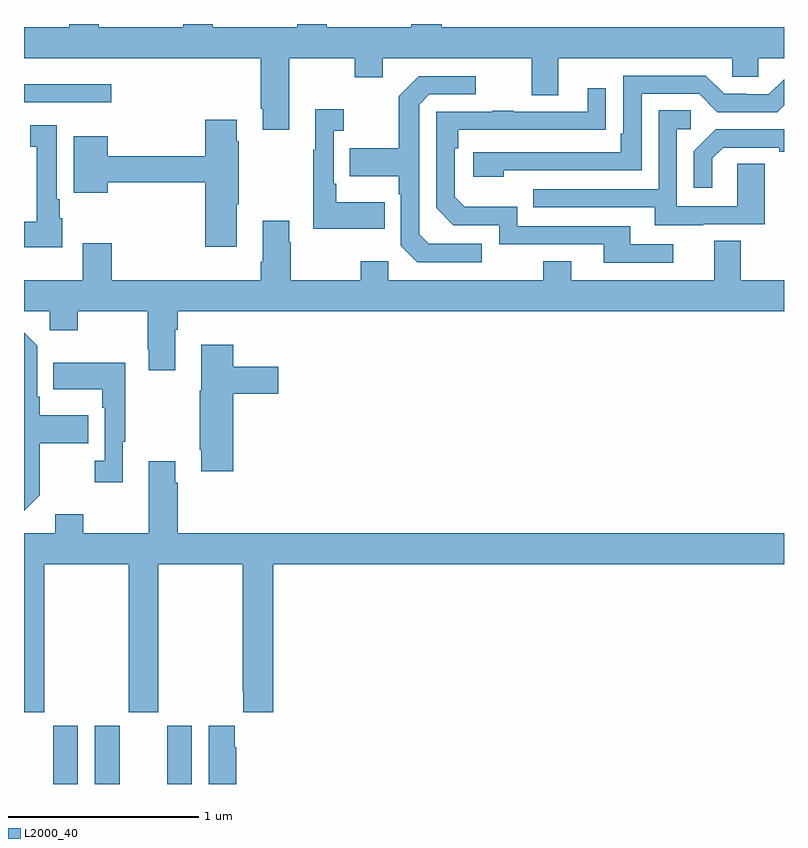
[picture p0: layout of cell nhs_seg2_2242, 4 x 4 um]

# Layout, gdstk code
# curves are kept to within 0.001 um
import gdstk
lib = gdstk.Library(unit=1e-6, precision=1e-09)
def R(c, l, rs):  # rectangles x0, y0, x1, y1
    for r in rs: c.add(gdstk.rectangle(r[:2], r[2:], *l))
def P(c, l, *ps):  # polygons
    for p in ps: c.add(gdstk.Polygon(p, *l))
L2000_40 = (2000, 40)

nhs_seg2_2242 = lib.new_cell('nhs_seg2_2242')
R(nhs_seg2_2242, L2000_40, [(227.153,659.8,227.284,660.106), (227.372,659.8,227.503,660.106), (227.753,659.8,227.884,660.106), (227,663.387,227.458,663.484)])
P(nhs_seg2_2242, L2000_40, [(228.397,663.62),(228.742,663.62),(228.742,663.521),(228.889,663.521),(228.889,663.62),(229.673,663.62),(229.673,663.426),(229.813,663.426),(229.813,663.62),(230.727,663.62),(230.727,663.522),(230.865,663.522),(230.865,663.62),(231,663.62),(231,663.784),(229.199,663.784),(229.199,663.8),(229.039,663.8),(229.039,663.784),(228.594,663.784),(228.594,663.8),(228.439,663.8),(228.439,663.784),(227.994,663.784),(227.994,663.8),(227.839,663.8),(227.839,663.784),(227.394,663.784),(227.394,663.8),(227.239,663.8),(227.239,663.784),(227,663.784),(227,663.62),(228.245,663.62),(228.245,663.355),(228.257,663.355),(228.257,663.243),(228.397,663.243)],
  [(229.526,663.03),(230.25,663.03),(230.25,663.432),(230.553,663.432),(230.649,663.336),(230.964,663.336),(231,663.372),(231,663.51),(230.919,663.429),(230.804,663.429),(230.804,663.432),(230.685,663.432),(230.589,663.528),(230.154,663.528),(230.154,663.223),(230.141,663.223),(230.141,663.126),(229.365,663.126),(229.365,662.996),(229.526,662.996)],
  [(229.408,662.643),(229.131,662.643),(229.08,662.694),(229.08,663.375),(229.134,663.429),(229.378,663.429),(229.378,663.525),(229.077,663.525),(228.972,663.419),(228.972,663.147),(228.715,663.147),(228.715,662.999),(228.972,662.999),(228.972,662.903),(228.984,662.903),(228.984,662.634),(229.071,662.547),(229.408,662.547)],
  [(230.416,662.64),(230.191,662.64),(230.191,662.736),(229.596,662.736),(229.596,662.839),(229.319,662.839),(229.266,662.892),(229.266,663.146),(229.286,663.146),(229.286,663.243),(230.063,663.244),(230.063,663.463),(229.967,663.463),(229.967,663.339),(229.577,663.339),(229.577,663.344),(229.465,663.344),(229.465,663.339),(229.17,663.339),(229.17,662.832),(229.26,662.742),(229.5,662.742),(229.5,662.64),(230.051,662.64),(230.051,662.544),(230.416,662.544)],
  [(228.899,662.863),(228.643,662.863),(228.643,662.959),(228.63,662.959),(228.63,663.239),(228.682,663.239),(228.682,663.352),(228.533,663.352),(228.533,663.139),(228.522,663.139),(228.522,662.723),(228.899,662.723)],
  [(230.575,662.745),(230.899,662.745),(230.899,663.065),(230.754,663.065),(230.754,662.841),(230.436,662.841),(230.436,663.246),(230.509,663.246),(230.509,663.347),(230.34,663.347),(230.34,662.931),(229.681,662.931),(229.681,662.835),(230.321,662.835),(230.321,662.741),(230.575,662.741)],
  [(228.121,662.851),(228.129,662.851),(228.129,663.182),(228.121,663.182),(228.121,663.295),(227.954,663.295),(227.954,663.104),(227.44,663.104),(227.44,663.208),(227.261,663.208),(227.261,662.912),(227.44,662.912),(227.44,662.968),(227.954,662.968),(227.954,662.628),(228.121,662.628)],
  [(227.2,662.778),(227.188,662.778),(227.188,662.878),(227.173,662.878),(227.173,663.268),(227.033,663.268),(227.033,663.155),(227.066,663.155),(227.066,662.758),(227,662.758),(227,662.624),(227.2,662.624)],
  [(230.623,663.093),(230.68,663.15),(230.975,663.15),(230.975,663.128),(231,663.128),(231,663.246),(230.642,663.246),(230.526,663.13),(230.526,662.937),(230.623,662.937)],
  [(227.797,662.192),(227.81,662.192),(227.81,662.288),(231,662.288),(231,662.452),(230.773,662.452),(230.773,662.66),(230.633,662.66),(230.633,662.452),(229.879,662.452),(229.879,662.551),(229.732,662.551),(229.732,662.452),(228.918,662.452),(228.918,662.551),(228.772,662.551),(228.772,662.452),(228.405,662.452),(228.405,662.651),(228.397,662.651),(228.397,662.764),(228.257,662.764),(228.257,662.548),(228.245,662.548),(228.245,662.452),(227.462,662.452),(227.462,662.647),(227.309,662.647),(227.309,662.452),(227,662.452),(227,662.288),(227.136,662.288),(227.136,662.189),(227.283,662.189),(227.283,662.288),(227.65,662.288),(227.65,662.089),(227.657,662.089),(227.657,661.977),(227.797,661.977)],
  [(227.083,661.321),(227.083,661.594),(227.339,661.594),(227.339,661.741),(227.083,661.741),(227.083,661.837),(227.07,661.837),(227.07,662.106),(227,662.176),(227,661.238)],
  [(228.101,661.853),(228.337,661.853),(228.337,661.995),(228.101,661.995),(228.101,662.113),(227.933,662.113),(227.933,661.869),(227.926,661.869),(227.926,661.558),(227.933,661.558),(227.933,661.446),(228.101,661.446)],
  [(227.521,661.601),(227.533,661.601),(227.533,662.017),(227.155,662.017),(227.155,661.877),(227.412,661.877),(227.412,661.781),(227.424,661.781),(227.424,661.502),(227.373,661.502),(227.373,661.389),(227.521,661.389)],
  [(227.106,660.956),(227.551,660.956),(227.551,660.177),(227.706,660.177),(227.706,660.956),(228.151,660.956),(228.151,660.289),(228.155,660.289),(228.155,660.177),(228.311,660.177),(228.311,660.956),(231,660.956),(231,661.12),(227.81,661.12),(227.81,661.385),(227.797,661.385),(227.797,661.498),(227.657,661.498),(227.657,661.12),(227.313,661.12),(227.313,661.219),(227.165,661.219),(227.165,661.12),(227,661.12),(227,660.177),(227.106,660.177)],
  [(228.116,659.993),(228.109,659.993),(228.109,660.106),(227.972,660.106),(227.972,659.8),(228.116,659.8)])

lib.write_gds('nhs_seg2_2242.gds')
